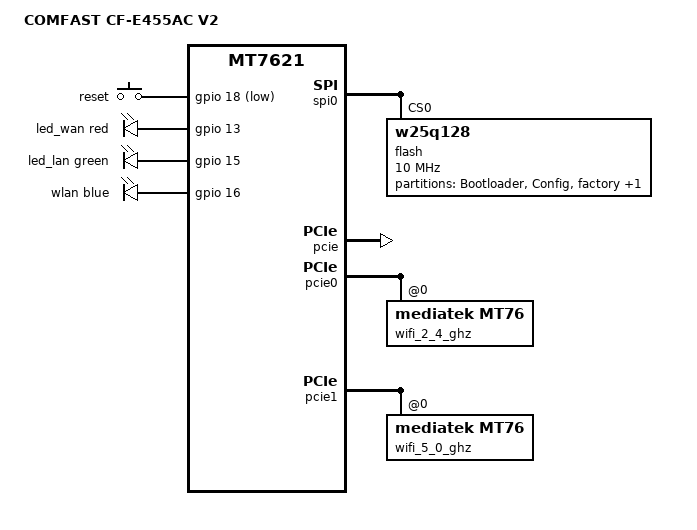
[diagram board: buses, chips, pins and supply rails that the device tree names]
// SPDX-License-Identifier: GPL-2.0-or-later OR MIT

#include "mt7621.dtsi"

#include <dt-bindings/gpio/gpio.h>
#include <dt-bindings/input/input.h>
#include <dt-bindings/leds/common.h>

/ {
	compatible = "comfast,cf-e455ac-v2", "mediatek,mt7621-soc";
	model = "COMFAST CF-E455AC V2";

	chosen {
		bootargs = "console=ttyS0,115200";
	};

	keys {
		compatible = "gpio-keys";

		reset {
			label = "reset";
			gpios = <&gpio 18 GPIO_ACTIVE_LOW>;
			linux,code = <KEY_RESTART>;
			debounce-interval = <60>;
		};
	};

	leds {
		compatible = "gpio-leds";

		/*
		 * Three GPIO LEDs, active-high (confirmed against the stock
		 * firmware's live GPIO/LED state):
		 *   red:wan   gpio 13
		 *   green:lan gpio 15
		 *   blue:wlan gpio 16
		 * gpio 19 is driven high by the bootloader but is not exposed
		 * as an LED by the vendor firmware; left unconfigured.
		 */

		led_wan: wan {
			color = <LED_COLOR_ID_RED>;
			function = LED_FUNCTION_WAN;
			gpios = <&gpio 13 GPIO_ACTIVE_HIGH>;
		};

		led_lan: lan {
			color = <LED_COLOR_ID_GREEN>;
			function = LED_FUNCTION_LAN;
			gpios = <&gpio 15 GPIO_ACTIVE_HIGH>;
		};

		wlan {
			color = <LED_COLOR_ID_BLUE>;
			function = LED_FUNCTION_WLAN;
			gpios = <&gpio 16 GPIO_ACTIVE_HIGH>;
		};
	};

	aliases {
		label-mac-device = &gmac0;
	};
};

&spi0 {
	status = "okay";

	flash@0 {
		compatible = "w25q128";
		reg = <0>;
		spi-max-frequency = <10000000>;
		m25p,fast-read;
		partitions {
			compatible = "fixed-partitions";
			#address-cells = <1>;
			#size-cells = <1>;

			partition@0 {
				label = "Bootloader";
				reg = <0x0 0x30000>;
				read-only;
			};

			partition@30000 {
				label = "Config";
				reg = <0x30000 0x10000>;
				read-only;
			};

			partition@40000  {
				label = "factory";
				reg = <0x40000 0x10000>;
				read-only;

				nvmem-layout {
					compatible = "fixed-layout";
					#address-cells = <1>;
					#size-cells = <1>;

					eeprom_factory_0: eeprom@0 {
						reg = <0x0 0x400>;
					};

					eeprom_factory_8000: eeprom@8000 {
						reg = <0x8000 0x4da8>;
					};

					macaddr_factory_e000: macaddr@e000 {
						compatible = "mac-base";
						reg = <0xe000 0x6>;
						#nvmem-cell-cells = <1>;
					};
				};
			};

			partition@50000  {
				label = "firmware";
				compatible = "denx,uimage";
				reg = <0x50000 0xfb0000>;
			};
		};
	};
};

&gpio {
	groups = "i2c", "uart2", "uart3", "sdhci", "jtag";
	function = "gpio";
};

&gmac0 {
	nvmem-cells = <&macaddr_factory_e000 0>;
	nvmem-cell-names = "mac-address";
};

&pcie {
	status = "okay";
};

&pcie0 {
	wifi_2_4_ghz: wifi@0,0 {
		compatible = "mediatek,mt76";
		reg = <0x0000 0 0 0 0>;
		nvmem-cells = <&eeprom_factory_0>;
		nvmem-cell-names = "eeprom";
		/*
		 * MT7603 (2.4 GHz). Reads its MAC from EEPROM (&factory + 4);
		 * do not add mac-address here or a random MAC will be used.
		 */
	};
};

&pcie1 {
	wifi_5_0_ghz: wifi@0,0 {
		compatible = "mediatek,mt76";
		reg = <0x0000 0 0 0 0>;
		nvmem-cells = <&eeprom_factory_8000>;
		nvmem-cell-names = "eeprom";
		/*
		 * MT7663 (5 GHz). Reads its MAC from EEPROM (&factory + 0x8000 + 4);
		 * do not add mac-address here or a random MAC will be used.
		 */
	};
};

&pcie2 {
	status = "disabled";
};

&switch0 {
	mediatek,mcm;
	ports {
		wan: port@0 {
			status = "okay";
			label = "wan";
			nvmem-cells = <&macaddr_factory_e000 1>;
			nvmem-cell-names = "mac-address";
		};

		lan: port@1 {
			status = "okay";
			label = "lan";
			nvmem-cells = <&macaddr_factory_e000 0>;
			nvmem-cell-names = "mac-address";
		};
	};
};
